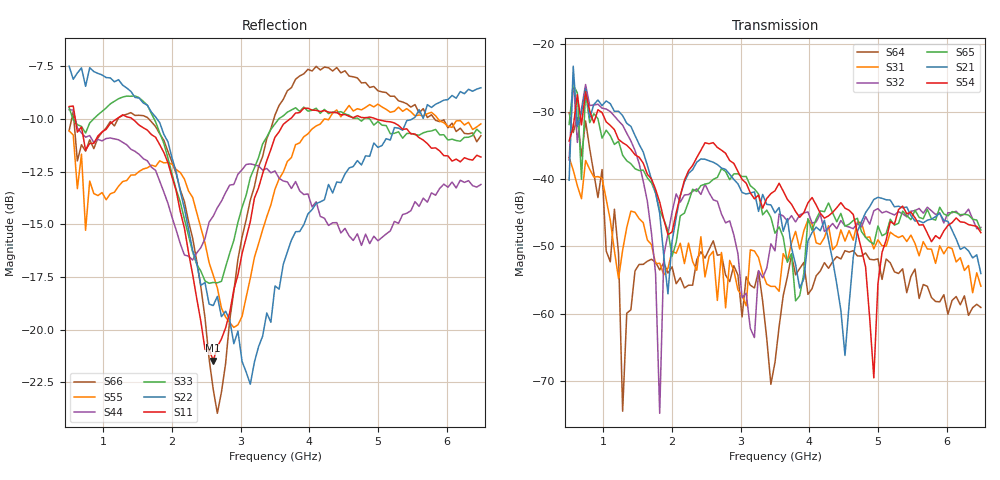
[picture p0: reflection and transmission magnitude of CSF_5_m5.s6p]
!Keysight Technologies,M9804A,MY58100912,A.14.10.03
!Date: Thursday, April 27, 2023 10:28:33
!Correction: S11(C  6-Port  )
!S12(C  6-Port  )
!S13(C  6-Port  )
!S14(C  6-Port  )
!S15(C  6-Port  )
!S16(C  6-Port  )
!S21(C  6-Port  )
!S22(C  6-Port  )
!S23(C  6-Port  )
!S24(C  6-Port  )
!S25(C  6-Port  )
!S26(C  6-Port  )
!S31(C  6-Port  )
!S32(C  6-Port  )
!S33(C  6-Port  )
!S34(C  6-Port  )
!S35(C  6-Port  )
!S36(C  6-Port  )
!S41(C  6-Port  )
!S42(C  6-Port  )
!S43(C  6-Port  )
!S44(C  6-Port  )
!S45(C  6-Port  )
!S46(C  6-Port  )
!S51(C  6-Port  )
!S52(C  6-Port  )
!S53(C  6-Port  )
!S54(C  6-Port  )
!S55(C  6-Port  )
!S56(C  6-Port  )
!S61(C  6-Port  )
!S62(C  6-Port  )
!S63(C  6-Port  )
!S64(C  6-Port  )
!S65(C  6-Port  )
!S66(C  6-Port  )
!S6P File: Measurement: :
# Hz S  RI  R 50
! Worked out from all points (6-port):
!   101 points, 500 MHz to 6.5 GHz, reference 50 ohm
!   strongest paths, dB at 500 MHz, 2 GHz, 3.5 GHz, 5 GHz, 6.5 GHz:
!     S54: -34.4, -47.9, -41.7, -55.5, -48.0
!     S21: -40.2, -49.3, -45.0, -42.7, -54.0
!     S65: -31.9, -51.5, -48.1, -47.0, -47.6
!     S32: -37.2, -44.9, -50.7, -44.4, -47.2
!     S31: -36.8, -50.7, -55.9, -49.0, -55.9
!     S64: -30.2, -53.0, -67.2, -51.9, -59.1
!   lowest |S11| = -21.5 dB at 2.6 GHz (marker M1), VSWR 1.18, Z = 42.5 + j2.2 ohm
!   |S11| at or under -10 dB: 589.9 MHz to 1.19 GHz (600.4 MHz wide, 67.5 % of centre); 1.423 GHz to 3.718 GHz (2.295 GHz wide, 89.3 % of centre); 4.974 GHz to end of sweep
